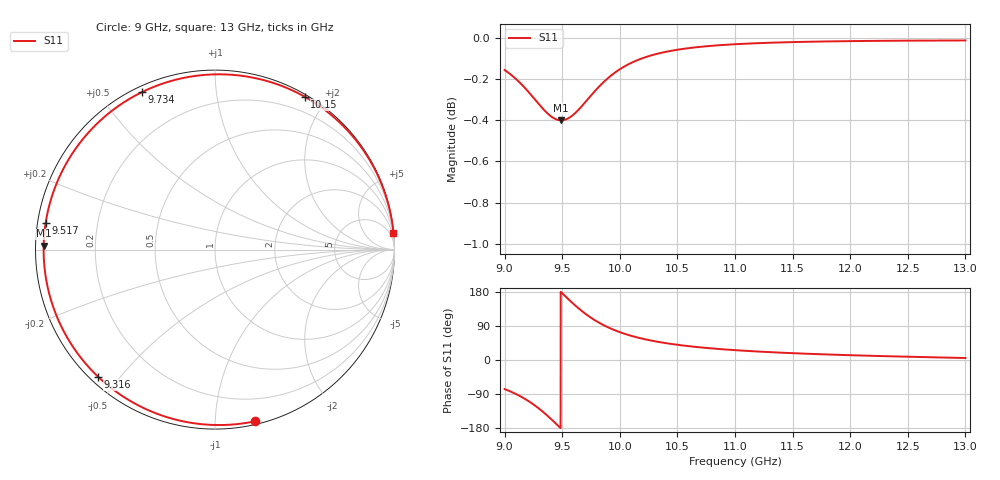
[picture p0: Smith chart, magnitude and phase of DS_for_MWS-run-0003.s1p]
! TOUCHSTONE file generated by CST DESIGN STUDIO
! Date and time: Tue Feb  4 18:26:21 2025
! Project name: C:\Work\MatlabApps\UnitCellOptimizationMatlab\CST\unitcell.cst
! Tree item: Tasks\Sweep1\SPara1\S-Parameters
! Header version: 2024
! Port assignment regex: !\s*Touchstone port\s*([0-9]+)\s*=\s*(CST MWS port|CST DES external port|CST DES block port)\s*(.+)\s* \(\"(.*)\"\)(\s*mode\s*([0-9]+))?.*
! Touchstone port assignment:
! Touchstone port 1 = CST DES external port 1 ("")
# GHz S MA R 50
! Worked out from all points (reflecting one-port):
!   4001 points, 9 GHz to 13 GHz, reference 50 ohm
!   lowest |S11| = -0.4 dB at 9.491 GHz (marker M1), VSWR 43.44, Z = 1.15 + j0.559 ohm
!   phase of S11 starts at -77 deg and turns -278 deg over the sweep
!   S11 on the Smith chart (normalised r, x): 9 GHz: 0.02, -1.26; 9.316 GHz: 0.02, -0.44; 9.517 GHz: 0.02, +0.08; 9.734 GHz: 0.02, +0.64; 10.15 GHz: 0.03, +1.75; 13 GHz: 0, +22
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9  0.9823 -76.8
9.081  0.9783 -87.2
9.181  0.9721 -103.4
9.251  0.9671 -117.4
9.316  0.9623 -132.5
9.362  0.9593 -144.4
9.411  0.9567 -157.9
9.452  0.9554 -169.8
9.491  0.955 178.7
9.5  0.955 176.1
9.517  0.9552 171.1
9.57  0.9567 155.7
9.63  0.9599 139.4
9.681  0.9634 126.7
9.734  0.9672 114.8
9.788  0.971 104.1
9.848  0.9749 93.7
9.923  0.9792 82.8
10  0.9827 73.5
10.151  0.9876 59.5
10.309  0.991 49.2
10.5  0.9935 40.1
10.722  0.9952 32.6
11  0.9965 26.0
11.5  0.9977 18.0
12  0.9983 12.6
12.5  0.9985 8.6
13  0.9986 5.3
